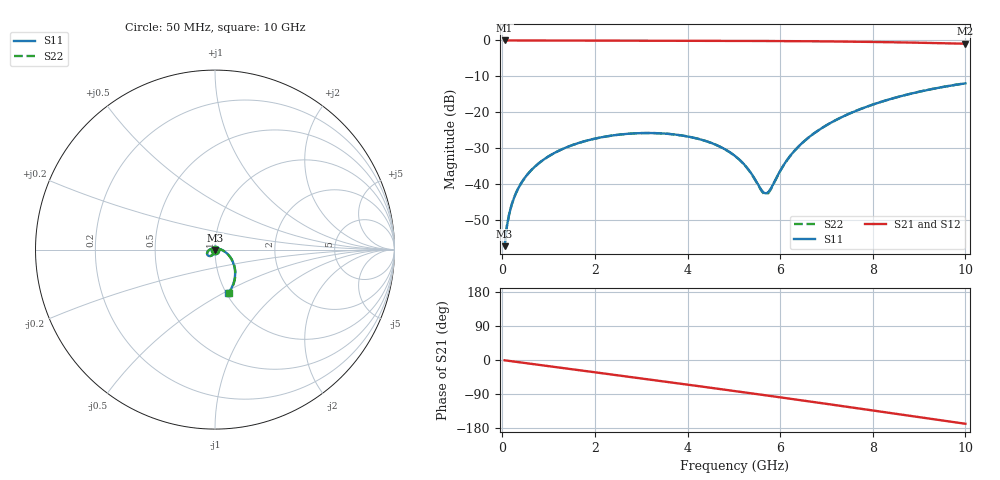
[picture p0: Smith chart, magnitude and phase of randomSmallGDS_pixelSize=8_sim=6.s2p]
! freq	dB(S11)	phase(S11)	dB(S12)	phase(S12)
!  dB(S21)	phase(S21)	dB(S22)	phase(S22)
!S-par simulation data
#  GHz  S  DB  R 50
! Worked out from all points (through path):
!   200 points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, 50 MHz to 10 GHz, reference 50 ohm
!   highest |S21| = 0.00 dB at 50 MHz (marker M1); lowest = -0.9 dB at 10 GHz (marker M2)
!   group delay of S21, straight-line fit = 46.7 ps
!   lowest |S11| = -57.3 dB at 50 MHz (marker M3), VSWR 1.00, Z = 50 - j0.135 ohm
!   |S11| at or under -10 dB: start of sweep to end of sweep
!   |S22| runs from -57.2 to -11.9 dB; largest |S21 - S12| = 0
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0.05  -57.32 -97.8  -0.00 -0.8  -0.00 -0.8  -57.21 -95.1
0.1  -51.74 -96.0  -0.00 -1.6  -0.00 -1.6  -51.64 -95.3
0.2  -45.88 -95.7  -0.00 -3.3  -0.00 -3.3  -45.84 -95.6
0.35  -41.08 -97.4  -0.00 -5.7  -0.00 -5.7  -41.07 -97.3
0.5  -38.03 -99.6  -0.01 -8.2  -0.01 -8.2  -38.03 -99.5
1  -32.29 -107.7  -0.02 -16.3  -0.02 -16.3  -32.28 -107.6
1.75  -28.17 -120.3  -0.04 -28.4  -0.04 -28.4  -28.17 -120.2
2.55  -26.20 -133.9  -0.05 -41.3  -0.05 -41.3  -26.20 -133.7
3.4  -25.87 -148.7  -0.07 -55.2  -0.07 -55.2  -25.87 -148.5
4.35  -27.84 -167.2  -0.10 -70.8  -0.10 -70.8  -27.84 -166.8
4.75  -29.91 -176.9  -0.11 -77.4  -0.11 -77.4  -29.92 -176.4
5.05  -32.43 173.3  -0.12 -82.4  -0.12 -82.4  -32.46 174.1
5.3  -35.72 160.3  -0.13 -86.6  -0.13 -86.6  -35.77 161.3
5.6  -41.74 117.5  -0.15 -91.7  -0.15 -91.7  -41.97 118.5
5.7  -42.63 86.8  -0.15 -93.4  -0.15 -93.4  -42.92 86.9
5.8  -41.25 56.5  -0.16 -95.1  -0.16 -95.1  -41.46 55.9
6.2  -32.44 9.1  -0.18 -101.9  -0.18 -101.9  -32.46 8.8
6.7  -26.18 -8.8  -0.23 -110.5  -0.23 -110.5  -26.18 -8.8
7.4  -20.94 -24.8  -0.31 -122.7  -0.31 -122.7  -20.94 -24.6
8.35  -16.44 -43.3  -0.48 -139.3  -0.48 -139.3  -16.43 -42.9
9.2  -13.74 -58.8  -0.68 -154.3  -0.68 -154.3  -13.73 -58.3
10  -11.95 -72.8  -0.91 -168.3  -0.91 -168.3  -11.93 -72.2
